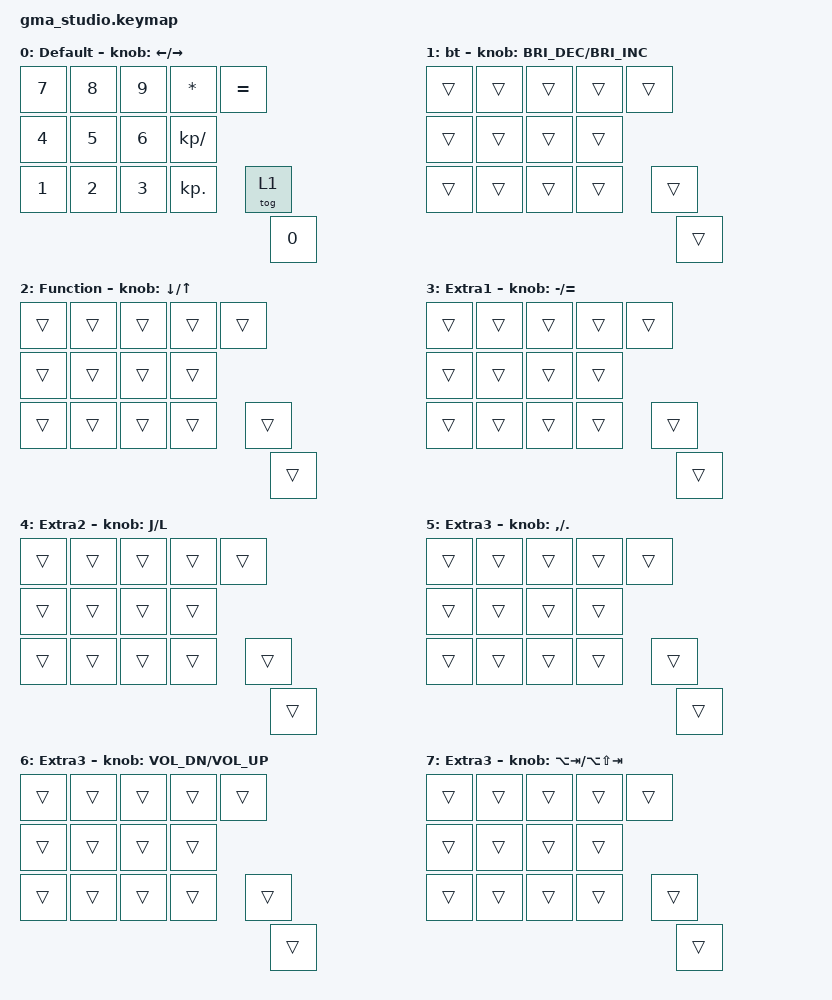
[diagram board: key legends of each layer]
#include <behaviors.dtsi>
#include <dt-bindings/zmk/keys.h>
#include <dt-bindings/zmk/bt.h>
#include <dt-bindings/zmk/pointing.h>


#define COMBO(NAME, BINDINGS, KEYPOS, LAYER) \
  combo_##NAME { \
    timeout-ms = <50>; \
    bindings = <BINDINGS>; \
    key-positions = <KEYPOS>; \
    layers = <LAYER>; \
  };

/ {


        behaviors {
                hm: homerow_mods {
                        compatible = "zmk,behavior-hold-tap";
                        label = "HOMEROW_MODS";
                        #binding-cells = <2>;
                        tapping_term_ms = <190>;
                        quick-tap-ms = <175>;
                        flavor = "tap-preferred";
                        bindings = <&kp>, <&kp>;
                };
        };

        combos {
                compatible = "zmk,combos";
                      
                COMBO(bt0, &to 1, 10 14, 0)
                COMBO(bt2, &to 1, 10 14, 2)
                COMBO(bt3, &to 1, 10 14, 3)
                COMBO(bt4, &to 1, 10 14, 4)
                COMBO(bt5, &to 1, 10 14, 5)
                COMBO(bt6, &to 1, 10 14, 6)
                COMBO(bt7, &to 1, 10 14, 7)
     
        };

    keymap {
        compatible = "zmk,keymap";

        default_layer {
            display-name = "Default";
            
            bindings =<
                &kp N7      &kp N8    &kp N9    &kp STAR      &kp EQL
                &kp N4      &kp N5    &kp N6    &kp KP_SLASH  &tog 1
                &kp N1      &kp N2    &kp N3    &kp KP_DOT    &kp N0   
            >;
            sensor-bindings = <&inc_dec_kp LEFT RIGHT>;

        };

        bt_layer {
            display-name = "bt";

            bindings =<
                &trans      &trans    &trans    &trans    &trans
                &trans      &trans    &trans    &trans    &trans
                &trans      &trans    &trans    &trans    &trans
                  
            >;
            sensor-bindings = <&inc_dec_kp C_BRI_DEC C_BRI_INC>;

        };

        function_layer {
            display-name = "Function";

            bindings =<
                &trans      &trans    &trans    &trans    &trans
                &trans      &trans    &trans    &trans    &trans
                &trans      &trans    &trans    &trans    &trans
            >;
            sensor-bindings = <&inc_dec_kp DOWN UP>;

        };

        extra_layer1 {
            display-name = "Extra1";

            bindings =<
                &trans      &trans    &trans    &trans    &trans
                &trans      &trans    &trans    &trans    &trans
                &trans      &trans    &trans    &trans    &trans
            >;
            sensor-bindings = <&inc_dec_kp MINUS EQUAL>;

        };
        extra_layer2 {
            display-name = "Extra2";

            bindings =<
                &trans      &trans    &trans    &trans    &trans
                &trans      &trans    &trans    &trans    &trans
                &trans      &trans    &trans    &trans    &trans
            >;
            sensor-bindings = <&inc_dec_kp J L>;

        };
        extra_layer3 {
            display-name = "Extra3";

            bindings =<
                &trans      &trans    &trans    &trans    &trans
                &trans      &trans    &trans    &trans    &trans
                &trans      &trans    &trans    &trans    &trans
            >;
            sensor-bindings = <&inc_dec_kp COMMA DOT>;

        };
        extra_layer4 {
            display-name = "Extra3";

            bindings =<
                &trans      &trans    &trans    &trans    &trans
                &trans      &trans    &trans    &trans    &trans
                &trans      &trans    &trans    &trans    &trans
            >;
            sensor-bindings = <&inc_dec_kp C_VOL_DN C_VOL_UP>;

        };
      extra_layer5 {
            display-name = "Extra3";

            bindings =<
                &trans      &trans    &trans    &trans    &trans
                &trans      &trans    &trans    &trans    &trans
                &trans      &trans    &trans    &trans    &trans
            >;
            sensor-bindings = <&inc_dec_kp LA(TAB) LA(LS(TAB))>;

        };
    };
};
